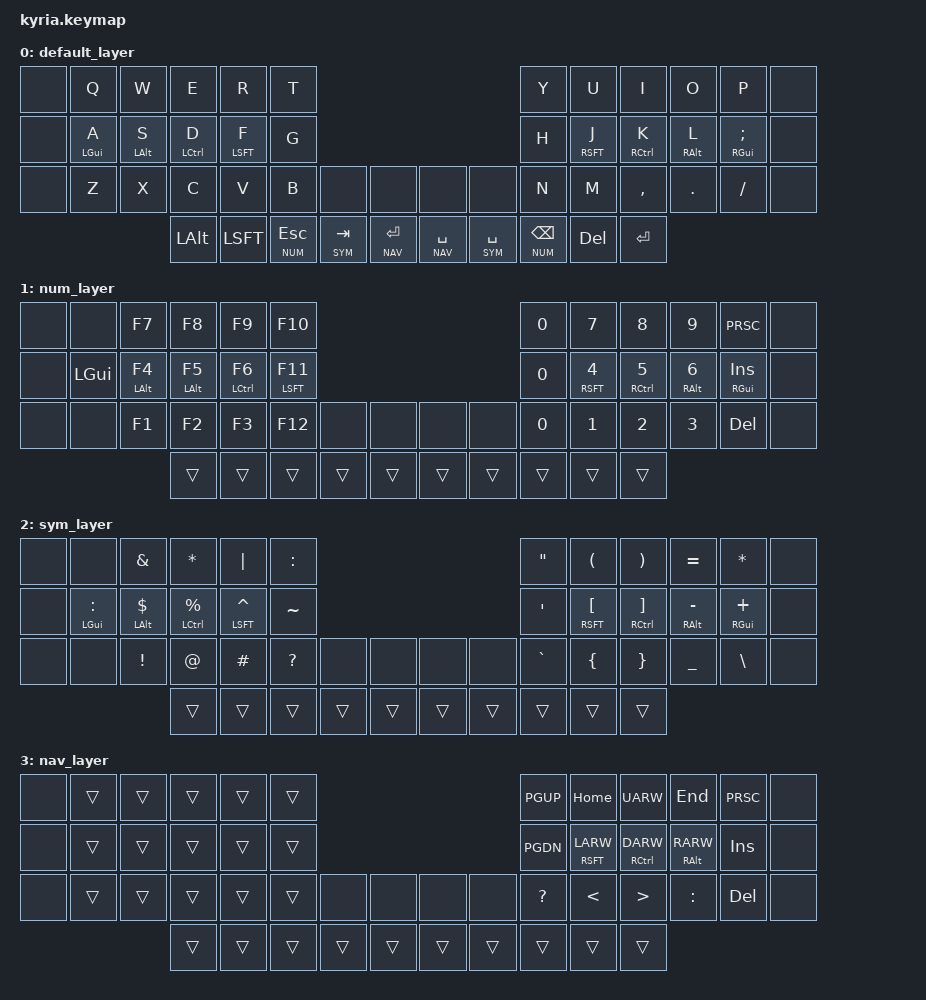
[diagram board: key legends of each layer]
/*
 * Copyright (c) 2020 The ZMK Contributors
 *
 * SPDX-License-Identifier: MIT
 */

#include <behaviors.dtsi>
#include <dt-bindings/zmk/keys.h>

#define DEFAULT 0
#define NUM 1
#define SYM 2
#define NAV 3

/ {
    behaviors {
        hm: homerow_mods {
            compatible = "zmk,behavior-hold-tap";
            label = "HOMEROW_MODS";
            #binding-cells = <2>;
            tapping_term_ms = <200>;
            flavor = "balanced";
            bindings = <&kp>, <&kp>;
        };
	};
	
	keymap {
		compatible = "zmk,keymap";

		default_layer {
			bindings = <
	&none	&kp Q		&kp W			&kp E			&kp R			&kp T																	&kp Y			&kp U			&kp I			&kp O			&kp P    		&none
	&none	&hm LGUI A	&hm LALT S		&hm LCTL D		&hm LSFT F		&kp G																	&kp H			&hm RSFT J		&hm RCTL K		&hm RALT L		&hm RGUI SCLN	&none
	&none 	&kp Z		&kp X			&kp C			&kp V			&kp B		&none			&none			&none		&none			&kp N			&kp M			&kp CMMA		&kp DOT			&kp FSLH 		&none
										&kp LALT		&kp LSFT		&lt NUM ESC &lt SYM TAB 	&lt NAV RET		&lt NAV SPC	&lt SYM SPC		&lt NUM BKSP	&kp DEL			&kp RET
			>;
		};
		num_layer {
			bindings = <
	&none	&none		&kp F7			&kp F8			&kp F9			&kp F10																	&kp N0			&kp N7			&kp N8			&kp N9			&kp PRSC		&none
	&none	&kp LGUI	&hm LALT F4		&hm LALT F5		&hm LCTL F6		&hm LSFT F11															&kp N0			&hm RSFT N4		&hm RCTL N5		&hm RALT N6		&hm RGUI INS	&none
	&none	&none		&kp F1			&kp F2			&kp F3			&kp F12		&none			&none			&none		&none			&kp N0			&kp N1			&kp N2			&kp N3			&kp DEL			&none
										&trans			&trans			&trans 		&trans			&trans			&trans		&trans			&trans			&trans			&trans
			>;
		};
		sym_layer {
			bindings = <
	&none	&none		&kp AMPS		&kp STAR		&kp PIPE		&kp COLN																&kp DQT			&kp LPAR		&kp RPAR		&kp EQUAL		&kp STAR		&none
	&none	&hm LGUI COLN &hm LALT DLLR	&hm LCTL PRCNT	&hm LSFT CARET	&kp TILDE																&kp SQT 		&hm RSFT LBKT	&hm RCTL RBKT	&hm RALT MINUS	&hm RGUI PLUS	&none
	&none 	&none		&kp EXCL		&kp AT			&kp HASH		&kp QMARK	&none			&none			&none		&none			&kp GRAVE		&kp	LBRC		&kp RBRC		&kp UNDER		&kp BSLH		&none
										&trans			&trans			&trans 		&trans			&trans			&trans		&trans			&trans			&trans			&trans
			>;
		};
		nav_layer {
			bindings = <
	 &none	&trans		&trans			&trans			&trans			&trans																	&kp PGUP		&kp HOME		&kp UARW		&kp END			&kp PRSC		&none
	 &none	&trans		&trans			&trans			&trans			&trans																	&kp PGDN		&hm RSFT LARW	&hm RCTL DARW	&hm RALT RARW	&kp INS			&none
	 &none 	&trans		&trans			&trans			&trans			&trans		&none			&none			&none		&none			&kp QMARK		&kp LT			&kp GT			&kp COLN		&kp DEL 		&none
										&trans			&trans			&trans 		&trans			&trans			&trans		&trans			&trans			&trans			&trans
			>;
		};
	};
};
